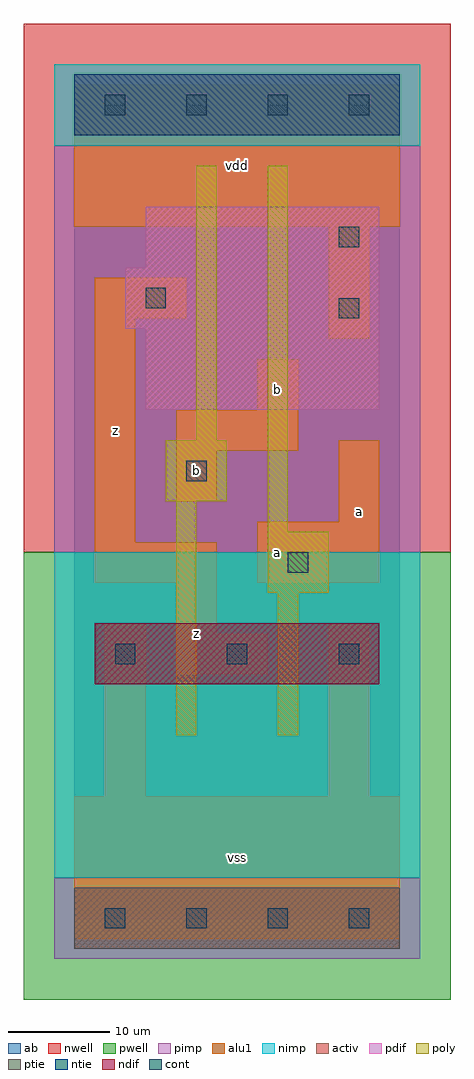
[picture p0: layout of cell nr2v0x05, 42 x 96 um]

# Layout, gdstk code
import gdstk
lib = gdstk.Library(unit=1e-6, precision=1e-09)
def R(c, l, rs):  # rectangles x0, y0, x1, y1
    for r in rs: c.add(gdstk.rectangle(r[:2], r[2:], *l))
def A(c, l, x, y, w, h, nx, ny, dx, dy):  # array of equal rectangles
    R(c, l, [(x+i*dx, y+j*dy, x+i*dx+w, y+j*dy+h) for i in range(nx) for j in range(ny)])
ndif = (3, 0)
pdif = (4, 0)
ntie = (5, 0)
ptie = (6, 0)
cont = (25, 0)
pwell = (41, 0)
nwell = (42, 0)
activ = (43, 0)
pimp = (44, 0)
nimp = (45, 0)
poly = (46, 0)
alu1 = (49, 0)
ab = (63, 0)

nr2v0x05 = lib.new_cell('nr2v0x05')
R(nr2v0x05, ndif, [(2,23,30,29)])
R(nr2v0x05, pdif, [(7,50,30,58), (5,58,30,64), (7,64,30,70)])
R(nr2v0x05, ntie, [(0,77,32,83)])
R(nr2v0x05, ptie, [(0,-3,32,3)])
A(nr2v0x05, cont, 3, -1, 2, 2, 4, 2, 8, 80)
A(nr2v0x05, cont, 4, 25, 2, 2, 3, 1, 11, 0)
R(nr2v0x05, cont, [(21,34,23,36), (11,43,13,45), (26,59,28,61), (7,60,9,62), (26,66,28,68)])
R(nr2v0x05, pwell, [(-5,-8,37,36)])
R(nr2v0x05, nwell, [(-5,36,37,88)])
R(nr2v0x05, activ, [(0,-3,32,3), (2,23,30,29), (7,50,30,58), (5,58,30,64), (7,64,30,70), (0,77,32,83)])
R(nr2v0x05, pimp, [(-2,-4,34,4), (-2,36,34,76)])
R(nr2v0x05, nimp, [(-2,4,34,36), (-2,76,34,84)])
R(nr2v0x05, poly, [(10,18,12,41), (20,18,22,32), (19,32,25,38), (19,38,21,74), (9,41,15,47), (12,47,14,74)])
R(nr2v0x05, alu1, [(0,-2,32,12), (3,12,7,29), (25,12,29,29), (10,24,19,28), (10,28,14,33), (2,33,14,37), (18,33,30,39), (2,37,6,59), (26,39,30,47), (10,41,14,46), (10,46,22,50), (18,50,22,55), (25,57,29,68), (2,59,11,63), (0,68,32,82)])
R(nr2v0x05, ab, [(0,0,32,80)])
nr2v0x05.add(gdstk.Label('z', (4,48), layer=49, texttype=0))
nr2v0x05.add(gdstk.Label('z', (12,28), layer=49, texttype=0))
nr2v0x05.add(gdstk.Label('b', (12,44), layer=49, texttype=0))
nr2v0x05.add(gdstk.Label('vss', (16,6), layer=49, texttype=0))
nr2v0x05.add(gdstk.Label('a', (20,36), layer=49, texttype=0))
nr2v0x05.add(gdstk.Label('b', (20,52), layer=49, texttype=0))
nr2v0x05.add(gdstk.Label('vdd', (16,74), layer=49, texttype=0))
nr2v0x05.add(gdstk.Label('a', (28,40), layer=49, texttype=0))

lib.write_gds('nr2v0x05.gds')
